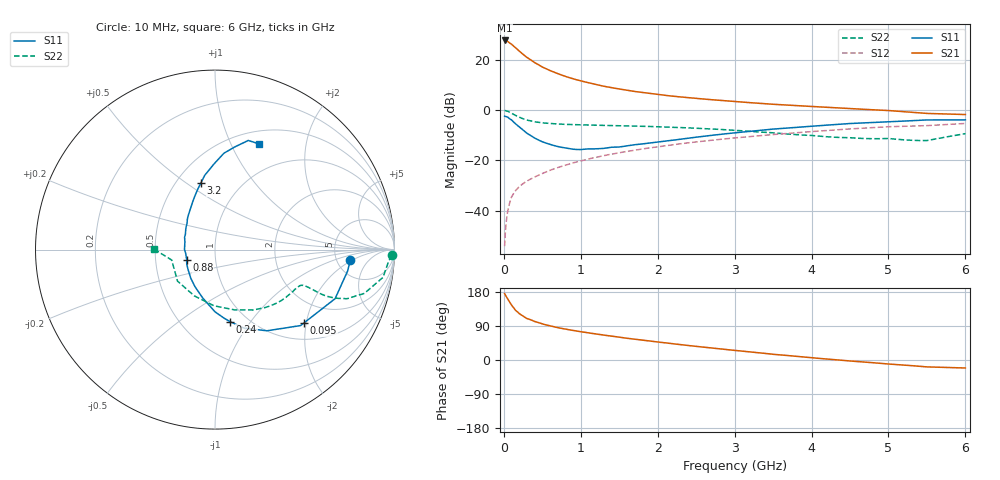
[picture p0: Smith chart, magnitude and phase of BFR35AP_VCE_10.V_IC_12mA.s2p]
! Infineon Technologies  Discrete & RF Semiconductors
! BFR35AP
! VCE =  10. V,  IC =  12 mA
! Common Emitter S-Parameters:  Nov 2015
# GHz  S  MA  R  50
!  f  S11  S21  S12  S22
! GHz  MAG  ANG  MAG  ANG  MAG  ANG  MAG  ANG
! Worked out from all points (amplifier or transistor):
!   210 points, 10 MHz to 6 GHz, reference 50 ohm
!   highest |S21| = 27.6 dB at 10 MHz (marker M1)
!   |S21| within 3 dB of that: start of sweep to 156.5 MHz
!   unconditionally stable (mu >= 1): 602.4 MHz to 2.732 GHz
!   at 185 MHz: K = 0.56, MSG = 27.3 dB, |S12| = -30.9 dB
!   at 1.52 GHz: K = 1.08, MAG = 10.8 dB, |S12| = -16.8 dB
!   at 6 GHz: K = 0.88, MSG = 1.8 dB, |S12| = -5.3 dB
!   S11 on the Smith chart (normalised r, x): 10 MHz: 6.68, -1.85; 95 MHz: 1.39, -1.94; 240 MHz: 0.83, -0.80; 880 MHz: 0.72, -0.09; 3.2 GHz: 0.66, +0.57; 6 GHz: 0.64, +1.28
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0.01  0.7564 -4.5  23.92 175.3  0.002 80.7  0.9854 -1.8
0.02  0.7483 -9.2  23.86 171.3  0.0038 87.2  0.9693 -3.9
0.05  0.7229 -22.2  22.89 160.6  0.0098 79.1  0.9488 -9.4
0.095  0.6425 -39.5  20.38 146.5  0.0179 72.1  0.8751 -15.6
0.1  0.6376 -41.6  20.18 144.7  0.0188 71.7  0.8676 -16.3
0.15  0.5369 -57.4  17.28 131.4  0.025 66.9  0.7845 -20.4
0.2  0.4661 -69.8  14.74 122.5  0.0302 64.8  0.7191 -22.1
0.24  0.4097 -78.2  13.06 116.8  0.0339 64.1  0.6793 -22.6
0.3  0.3465 -90.0  11.05 109.5  0.039 64.5  0.6318 -22.7
0.4  0.2787 -104.1  8.718 101.7  0.0469 65.6  0.5842 -22.2
0.5  0.2348 -118.4  7.118 95.0  0.055 65.8  0.5565 -22.0
0.6  0.2086 -130.4  6.059 89.8  0.0638 66.3  0.5402 -21.9
0.7  0.189 -141.9  5.266 85.4  0.0722 67.2  0.5288 -22.1
0.88  0.1687 -159.4  4.242 78.7  0.0878 67.1  0.5143 -23.0
1.02  0.1655 -174.1  3.712 74.0  0.0996 67.0  0.5074 -24.2
1.4  0.183 157.8  2.766 62.9  0.1332 65.6  0.4924 -28.5
2.02  0.2353 130.2  2.014 47.1  0.1885 60.8  0.465 -37.8
3.1  0.3654 103.8  1.435 23.4  0.2887 50.4  0.3873 -60.3
3.2  0.3782 102.2  1.399 21.5  0.2979 49.3  0.3774 -63.0
4.1  0.4897 89.3  1.153 4.2  0.3828 39.1  0.3031 -95.3
5.1  0.5932 77.7  0.951 -12.0  0.4704 25.3  0.2636 -144.8
6  0.6383 67.6  0.813 -21.1  0.5412 14.7  0.3401 179.5
